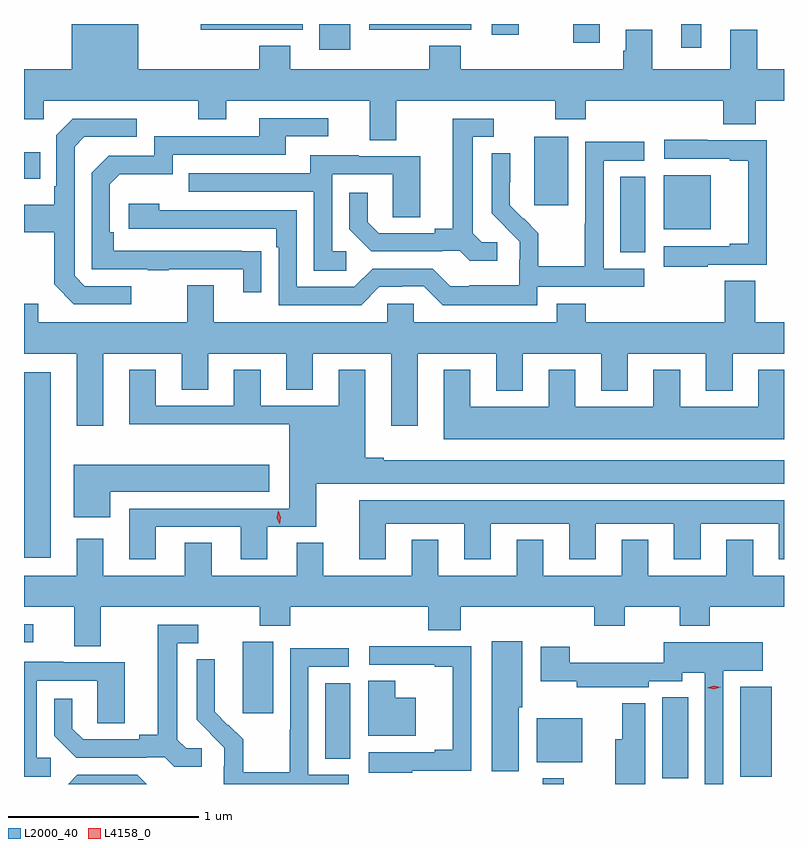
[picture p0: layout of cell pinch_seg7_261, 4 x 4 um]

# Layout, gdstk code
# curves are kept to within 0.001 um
import gdstk
lib = gdstk.Library(unit=1e-6, precision=1e-09)
def R(c, l, rs):  # rectangles x0, y0, x1, y1
    for r in rs: c.add(gdstk.rectangle(r[:2], r[2:], *l))
def P(c, l, *ps):  # polygons
    for p in ps: c.add(gdstk.Polygon(p, *l))
L2000_40 = (2000, 40)
L4158_0 = (4158, 0)

pinch_seg7_261 = lib.new_cell('pinch_seg7_261')
R(pinch_seg7_261, L2000_40, [(797.199,1039.643,797.312,1039.672), (797.828,1039.674,797.965,1040.099), (798.239,1039.681,798.406,1040.155), (797.168,1039.757,797.407,1039.99), (796.055,1039.777,796.186,1040.174), (795.62,1040.016,795.781,1040.392), (794.47,1040.388,794.518,1040.484), (794.47,1040.835,794.611,1041.811), (797.609,1042.441,797.74,1042.838), (797.837,1042.562,798.085,1042.846), (797.156,1042.689,797.335,1043.05), (794.47,1042.829,794.555,1042.969), (796.025,1043.507,796.186,1043.643), (797.93,1043.517,798.034,1043.643), (797.36,1043.544,797.5,1043.643), (796.931,1043.586,797.074,1043.643)])
P(pinch_seg7_261, L2000_40, [(796.429,1043.24),(797.266,1043.24),(797.266,1043.141),(797.426,1043.141),(797.426,1043.24),(798.149,1043.24),(798.149,1043.116),(798.321,1043.116),(798.321,1043.24),(798.47,1043.24),(798.47,1043.404),(798.328,1043.404),(798.328,1043.612),(798.188,1043.612),(798.188,1043.404),(797.776,1043.404),(797.776,1043.612),(797.636,1043.612),(797.636,1043.502),(797.624,1043.502),(797.624,1043.404),(796.769,1043.404),(796.769,1043.528),(796.603,1043.528),(796.603,1043.404),(795.871,1043.404),(795.871,1043.528),(795.707,1043.528),(795.707,1043.404),(795.07,1043.404),(795.07,1043.643),(794.72,1043.643),(794.72,1043.404),(794.47,1043.404),(794.47,1043.141),(794.574,1043.141),(794.574,1043.24),(795.388,1043.24),(795.388,1043.141),(795.535,1043.141),(795.535,1043.24),(796.289,1043.24),(796.289,1043.032),(796.429,1043.032)],
  [(795.623,1043.613),(795.936,1043.613),(795.936,1043.643),(795.399,1043.643),(795.399,1043.612),(795.623,1043.612)],
  [(796.514,1043.613),(796.824,1043.613),(796.824,1043.643),(796.287,1043.643),(796.287,1043.612),(796.514,1043.612)],
  [(795.719,1042.448),(794.942,1042.449),(794.942,1042.546),(794.922,1042.546),(794.922,1042.8),(794.975,1042.853),(795.252,1042.853),(795.252,1042.956),(795.847,1042.956),(795.847,1043.052),(796.072,1043.052),(796.072,1043.148),(795.707,1043.148),(795.707,1043.052),(795.156,1043.052),(795.156,1042.95),(794.916,1042.95),(794.826,1042.86),(794.826,1042.353),(795.121,1042.353),(795.121,1042.348),(795.233,1042.348),(795.233,1042.353),(795.623,1042.353),(795.623,1042.23),(795.719,1042.23)],
  [(796.96,1042.494),(796.878,1042.494),(796.831,1042.541),(796.831,1043.049),(796.942,1043.049),(796.942,1043.145),(796.727,1043.145),(796.727,1042.565),(796.631,1042.565),(796.631,1042.542),(796.336,1042.542),(796.279,1042.599),(796.279,1042.756),(796.182,1042.756),(796.182,1042.562),(796.298,1042.446),(796.67,1042.446),(796.67,1042.449),(796.764,1042.449),(796.816,1042.397),(796.96,1042.397)],
  [(795.034,1042.263),(794.79,1042.263),(794.736,1042.317),(794.736,1042.998),(794.787,1043.049),(795.064,1043.049),(795.064,1043.145),(794.727,1043.145),(794.64,1043.058),(794.64,1042.789),(794.628,1042.789),(794.628,1042.693),(794.47,1042.693),(794.47,1042.546),(794.628,1042.546),(794.628,1042.273),(794.733,1042.167),(795.034,1042.167)],
  [(798.068,1042.377),(798.378,1042.377),(798.378,1043.031),(798.065,1043.031),(798.065,1043.033),(797.841,1043.033),(797.841,1042.935),(798.185,1042.935),(798.185,1042.923),(798.281,1042.923),(798.281,1042.486),(798.185,1042.486),(798.185,1042.473),(797.838,1042.473),(797.838,1042.365),(798.068,1042.365)],
  [(797.172,1042.26),(797.734,1042.26),(797.734,1042.356),(797.52,1042.356),(797.52,1042.923),(797.734,1042.923),(797.734,1043.022),(797.424,1043.022),(797.424,1042.592),(797.422,1042.592),(797.422,1042.369),(797.177,1042.369),(797.177,1042.543),(797.1,1042.62),(797.097,1042.617),(797.027,1042.688),(797.028,1042.964),(796.932,1042.964),(796.932,1042.646),(797.078,1042.498),(797.078,1042.401),(797.076,1042.401),(797.076,1042.267),(796.813,1042.267),(796.813,1042.263),(796.713,1042.263),(796.62,1042.356),(796.305,1042.356),(796.209,1042.26),(795.906,1042.26),(795.906,1042.662),(795.182,1042.662),(795.182,1042.696),(795.021,1042.696),(795.021,1042.566),(795.797,1042.566),(795.797,1042.469),(795.81,1042.469),(795.81,1042.164),(796.245,1042.164),(796.341,1042.26),(796.46,1042.26),(796.46,1042.263),(796.575,1042.263),(796.675,1042.163),(797.172,1042.163)],
  [(796.165,1042.446),(796.092,1042.446),(796.092,1042.851),(796.41,1042.851),(796.41,1042.627),(796.555,1042.627),(796.555,1042.947),(796.231,1042.947),(796.231,1042.951),(795.977,1042.951),(795.977,1042.857),(795.337,1042.857),(795.337,1042.761),(795.996,1042.761),(795.996,1042.345),(796.165,1042.345)],
  [(794.887,1041.908),(795.299,1041.908),(795.299,1041.718),(795.439,1041.718),(795.439,1041.908),(795.851,1041.908),(795.851,1041.718),(795.991,1041.718),(795.991,1041.908),(796.403,1041.908),(796.403,1041.528),(796.543,1041.528),(796.543,1041.908),(796.955,1041.908),(796.955,1041.714),(797.095,1041.714),(797.095,1041.908),(797.507,1041.908),(797.507,1041.714),(797.647,1041.714),(797.647,1041.908),(798.059,1041.908),(798.059,1041.714),(798.199,1041.714),(798.199,1041.908),(798.47,1041.908),(798.47,1042.072),(798.318,1042.072),(798.318,1042.292),(798.157,1042.292),(798.157,1042.072),(797.426,1042.072),(797.426,1042.171),(797.273,1042.171),(797.273,1042.072),(796.521,1042.072),(796.521,1042.17),(796.383,1042.17),(796.383,1042.072),(795.469,1042.072),(795.469,1042.267),(795.329,1042.267),(795.329,1042.072),(794.545,1042.072),(794.545,1042.171),(794.47,1042.171),(794.47,1041.908),(794.747,1041.908),(794.747,1041.528),(794.887,1041.528)],
  [(798.47,1041.823),(798.335,1041.823),(798.335,1041.628),(797.923,1041.628),(797.923,1041.823),(797.783,1041.823),(797.783,1041.628),(797.371,1041.628),(797.371,1041.823),(797.231,1041.823),(797.231,1041.628),(796.819,1041.628),(796.819,1041.823),(796.679,1041.823),(796.679,1041.458),(798.47,1041.458)],
  [(795.163,1040.997),(795.611,1040.997),(795.611,1040.826),(795.751,1040.826),(795.751,1040.997),(796.009,1040.997),(796.009,1041.224),(798.47,1041.224),(798.47,1041.346),(796.363,1041.346),(796.363,1041.359),(796.267,1041.359),(796.267,1041.823),(796.127,1041.823),(796.127,1041.633),(795.715,1041.633),(795.715,1041.823),(795.575,1041.823),(795.575,1041.633),(795.163,1041.633),(795.163,1041.823),(795.023,1041.823),(795.023,1041.536),(795.866,1041.536),(795.866,1041.093),(795.023,1041.093),(795.023,1040.826),(795.163,1040.826)],
  [(794.923,1041.182),(795.76,1041.182),(795.76,1041.322),(794.732,1041.322),(794.732,1041.047),(794.923,1041.047)],
  [(796.375,1041.014),(796.787,1041.014),(796.787,1040.826),(796.927,1040.826),(796.927,1041.014),(797.339,1041.014),(797.339,1040.826),(797.479,1040.826),(797.479,1041.014),(797.891,1041.014),(797.891,1040.826),(798.031,1040.826),(798.031,1041.014),(798.443,1041.014),(798.443,1040.826),(798.47,1040.826),(798.47,1041.136),(796.235,1041.136),(796.235,1040.826),(796.375,1040.826)],
  [(794.875,1040.576),(795.712,1040.576),(795.712,1040.477),(795.872,1040.477),(795.872,1040.576),(796.598,1040.576),(796.598,1040.452),(796.769,1040.452),(796.769,1040.576),(797.471,1040.576),(797.471,1040.477),(797.631,1040.477),(797.631,1040.576),(797.92,1040.576),(797.92,1040.477),(798.08,1040.477),(798.08,1040.576),(798.47,1040.576),(798.47,1040.74),(798.307,1040.74),(798.307,1040.929),(798.167,1040.929),(798.167,1040.74),(797.755,1040.74),(797.755,1040.929),(797.615,1040.929),(797.615,1040.74),(797.203,1040.74),(797.203,1040.929),(797.063,1040.929),(797.063,1040.74),(796.651,1040.74),(796.651,1040.929),(796.511,1040.929),(796.511,1040.74),(796.045,1040.74),(796.045,1040.912),(795.905,1040.912),(795.905,1040.74),(795.457,1040.74),(795.457,1040.912),(795.317,1040.912),(795.317,1040.74),(794.887,1040.74),(794.887,1040.935),(794.747,1040.935),(794.747,1040.74),(794.47,1040.74),(794.47,1040.576),(794.735,1040.576),(794.735,1040.368),(794.875,1040.368)],
  [(795.406,1039.83),(795.324,1039.83),(795.277,1039.877),(795.277,1040.385),(795.388,1040.385),(795.388,1040.481),(795.173,1040.481),(795.173,1039.901),(795.077,1039.901),(795.077,1039.878),(794.782,1039.878),(794.725,1039.935),(794.725,1040.092),(794.628,1040.092),(794.628,1039.898),(794.744,1039.782),(795.116,1039.782),(795.116,1039.785),(795.21,1039.785),(795.262,1039.733),(795.406,1039.733)],
  [(797.074,1040.046),(797.092,1040.046),(797.092,1040.395),(796.931,1040.395),(796.931,1039.71),(797.074,1039.71)],
  [(798.15,1040.24),(798.358,1040.24),(798.358,1040.389),(797.838,1040.389),(797.838,1040.281),(797.342,1040.281),(797.342,1040.365),(797.189,1040.365),(797.189,1040.183),(797.378,1040.183),(797.378,1040.153),(797.758,1040.153),(797.758,1040.184),(797.934,1040.184),(797.934,1040.228),(798.054,1040.228),(798.054,1039.643),(798.15,1039.643)],
  [(796.514,1039.713),(796.824,1039.713),(796.824,1040.367),(796.514,1040.367),(796.514,1040.369),(796.287,1040.369),(796.287,1040.271),(796.631,1040.271),(796.631,1040.259),(796.727,1040.259),(796.727,1039.822),(796.631,1039.822),(796.631,1039.809),(796.284,1039.809),(796.284,1039.701),(796.514,1039.701)],
  [(796.18,1039.692),(795.966,1039.692),(795.966,1040.259),(796.18,1040.259),(796.18,1040.358),(795.87,1040.358),(795.87,1039.928),(795.868,1039.928),(795.868,1039.705),(795.623,1039.705),(795.623,1039.879),(795.546,1039.956),(795.543,1039.953),(795.473,1040.024),(795.473,1040.128),(795.475,1040.128),(795.475,1040.3),(795.378,1040.3),(795.378,1039.982),(795.524,1039.834),(795.524,1039.737),(795.522,1039.737),(795.522,1039.643),(796.18,1039.643)],
  [(794.611,1039.782),(794.538,1039.782),(794.538,1040.187),(794.856,1040.187),(794.856,1039.963),(795.001,1039.963),(795.001,1040.283),(794.677,1040.283),(794.677,1040.287),(794.47,1040.287),(794.47,1039.681),(794.611,1039.681)],
  [(796.531,1040.098),(796.425,1040.098),(796.425,1040.186),(796.283,1040.186),(796.283,1039.898),(796.531,1039.898)],
  [(797.74,1040.068),(797.618,1040.068),(797.618,1039.879),(797.582,1039.879),(797.582,1039.643),(797.74,1039.643)],
  [(795.066,1039.692),(794.751,1039.692),(794.702,1039.643),(795.115,1039.643)])
P(pinch_seg7_261, L4158_0, [(798.101,1040.141),(798.066,1040.15),(798.066,1040.15),(798.066,1040.15),(798.101,1040.161),(798.136,1040.152),(798.136,1040.151),(798.136,1040.151)],
  [(795.815,1041.011),(795.815,1041.011),(795.801,1041.044),(795.807,1041.08),(795.807,1041.08),(795.808,1041.08),(795.821,1041.047),(795.815,1041.011)])

lib.write_gds('pinch_seg7_261.gds')
